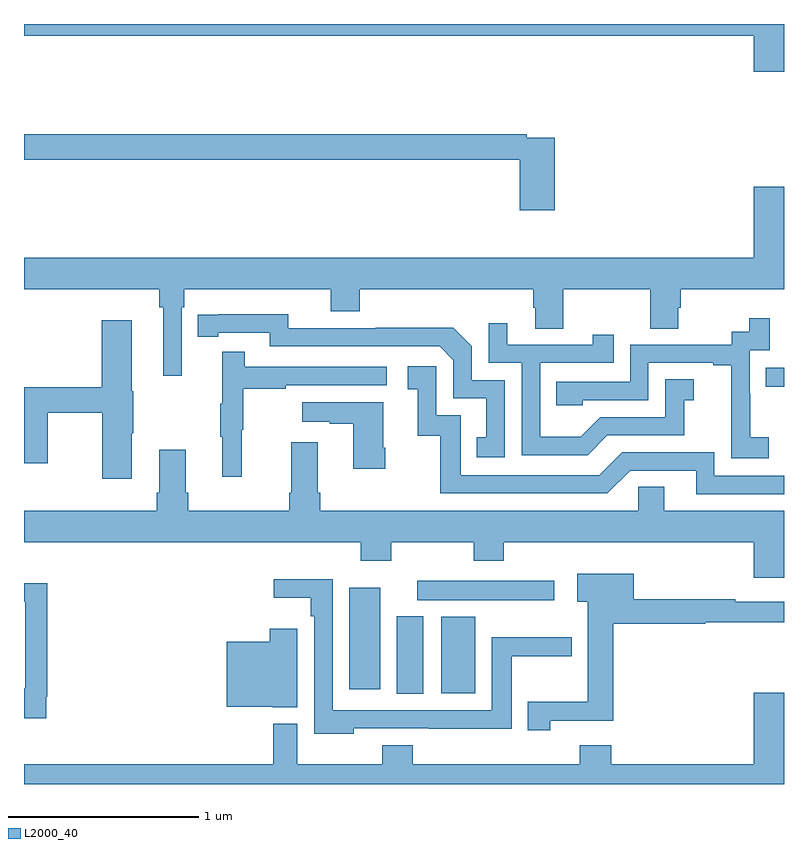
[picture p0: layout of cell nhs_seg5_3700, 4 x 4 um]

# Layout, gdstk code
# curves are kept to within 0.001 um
import gdstk
lib = gdstk.Library(unit=1e-6, precision=1e-09)
def R(c, l, rs):  # rectangles x0, y0, x1, y1
    for r in rs: c.add(gdstk.rectangle(r[:2], r[2:], *l))
def P(c, l, *ps):  # polygons
    for p in ps: c.add(gdstk.Polygon(p, *l))
L2000_40 = (2000, 40)

nhs_seg5_3700 = lib.new_cell('nhs_seg5_3700')
R(nhs_seg5_3700, L2000_40, [(330.962,877.273,331.102,877.681), (331.196,877.277,331.375,877.678), (330.713,877.299,330.874,877.831), (331.071,877.766,331.792,877.87), (332.905,878.89,333,878.991)])
P(nhs_seg5_3700, L2000_40, [(333,880.799),(329,880.799),(329,880.736),(332.84,880.736),(332.84,880.548),(333,880.548)],
  [(331.793,880.2),(331.646,880.2),(331.646,880.22),(329,880.22),(329,880.084),(331.61,880.084),(331.61,879.819),(331.793,879.819)],
  [(329.829,879.308),(329.843,879.308),(329.843,879.404),(330.614,879.404),(330.614,879.287),(330.767,879.287),(330.767,879.404),(331.679,879.404),(331.679,879.306),(331.691,879.306),(331.691,879.196),(331.839,879.196),(331.839,879.404),(332.296,879.404),(332.296,879.196),(332.443,879.196),(332.443,879.306),(332.456,879.306),(332.456,879.404),(333,879.404),(333,879.943),(332.84,879.943),(332.84,879.568),(329,879.568),(329,879.404),(329.713,879.404),(329.713,879.308),(329.732,879.308),(329.732,878.949),(329.829,878.949)],
  [(331.53,878.925),(331.356,878.925),(331.356,879.102),(331.258,879.2),(330.85,879.2),(330.85,879.198),(330.39,879.198),(330.39,879.271),(329.914,879.27),(329.914,879.154),(330.022,879.154),(330.022,879.174),(330.294,879.174),(330.294,879.102),(331.188,879.102),(331.26,879.03),(331.26,878.829),(331.433,878.829),(331.433,878.625),(331.384,878.625),(331.384,878.52),(331.53,878.52)],
  [(332.92,878.623),(332.822,878.623),(332.822,878.852),(332.82,878.852),(332.82,879.081),(332.925,879.081),(332.925,879.25),(332.817,879.25),(332.817,879.18),(332.724,879.18),(332.724,879.111),(332.19,879.111),(332.19,878.916),(331.801,878.916),(331.801,878.793),(331.941,878.793),(331.941,878.82),(332.286,878.82),(332.286,879.015),(332.627,879.015),(332.627,879.003),(332.723,879.003),(332.723,878.719),(332.722,878.719),(332.722,878.513),(332.92,878.513)],
  [(329.566,878.644),(329.574,878.644),(329.574,878.865),(329.566,878.865),(329.566,879.241),(329.408,879.241),(329.408,878.888),(329,878.888),(329,878.487),(329.124,878.487),(329.124,878.752),(329.413,878.752),(329.413,878.406),(329.566,878.406)],
  [(332.071,878.634),(332.475,878.634),(332.475,878.819),(332.524,878.819),(332.524,878.929),(332.376,878.929),(332.376,878.73),(332.034,878.73),(331.93,878.626),(331.716,878.626),(331.716,879.015),(332.105,879.015),(332.105,879.163),(331.994,879.163),(331.994,879.111),(331.543,879.111),(331.543,879.223),(331.446,879.223),(331.446,879.015),(331.62,879.015),(331.62,878.529),(331.966,878.529)],
  [(330.146,878.664),(330.154,878.664),(330.154,878.878),(330.377,878.878),(330.377,878.898),(330.91,878.898),(330.91,878.994),(330.161,878.994),(330.161,879.073),(330.044,879.073),(330.044,878.801),(330.033,878.801),(330.033,878.627),(330.044,878.627),(330.044,878.415),(330.146,878.415)],
  [(333,878.421),(332.634,878.421),(332.634,878.544),(332.148,878.544),(332.028,878.424),(331.299,878.424),(331.299,878.739),(331.17,878.739),(331.17,878.998),(331.02,878.998),(331.02,878.877),(331.073,878.877),(331.073,878.631),(331.191,878.631),(331.191,878.328),(332.07,878.328),(332.19,878.448),(332.537,878.448),(332.537,878.325),(333,878.325)],
  [(330.9,878.569),(330.892,878.569),(330.892,878.809),(330.465,878.809),(330.465,878.705),(330.608,878.705),(330.608,878.695),(330.734,878.695),(330.734,878.457),(330.9,878.457)],
  [(333,878.236),(332.371,878.236),(332.371,878.363),(332.232,878.363),(332.232,878.236),(330.56,878.236),(330.56,878.332),(330.547,878.332),(330.547,878.599),(330.407,878.599),(330.407,878.332),(330.395,878.332),(330.395,878.236),(329.864,878.236),(329.864,878.332),(329.851,878.332),(329.851,878.557),(329.711,878.557),(329.711,878.332),(329.699,878.332),(329.699,878.236),(329,878.236),(329,878.072),(330.773,878.072),(330.773,877.973),(330.933,877.973),(330.933,878.072),(331.366,878.072),(331.366,877.973),(331.526,877.973),(331.526,878.072),(332.84,878.072),(332.84,877.884),(333,877.884)],
  [(331.77,877.133),(332.102,877.133),(332.102,877.642),(332.585,877.642),(332.585,877.65),(333,877.65),(333,877.758),(332.744,877.758),(332.744,877.771),(332.209,877.771),(332.209,877.906),(331.911,877.906),(331.911,877.757),(331.967,877.757),(331.967,877.233),(331.652,877.233),(331.652,877.083),(331.77,877.083)],
  [(330.735,877.092),(331.129,877.092),(331.129,877.091),(331.567,877.091),(331.567,877.471),(331.882,877.471),(331.882,877.571),(331.463,877.571),(331.463,877.188),(330.624,877.188),(330.624,877.877),(330.315,877.877),(330.315,877.778),(330.508,877.778),(330.508,877.682),(330.528,877.682),(330.528,877.064),(330.735,877.064)],
  [(329.116,877.258),(329.123,877.258),(329.123,877.856),(329,877.856),(329,877.758),(329.007,877.758),(329.007,877.302),(329,877.302),(329,877.146),(329.116,877.146)],
  [(330.439,877.615),(330.293,877.615),(330.293,877.549),(330.068,877.549),(330.068,877.205),(330.309,877.205),(330.309,877.202),(330.439,877.202)],
  [(333,877.279),(332.84,877.279),(332.84,876.904),(332.09,876.904),(332.09,877.003),(331.925,877.003),(331.925,876.904),(331.046,876.904),(331.046,877.003),(330.886,877.003),(330.886,876.904),(330.439,876.904),(330.439,877.117),(330.311,877.117),(330.311,876.904),(329,876.904),(329,876.799),(333,876.799)])

lib.write_gds('nhs_seg5_3700.gds')
